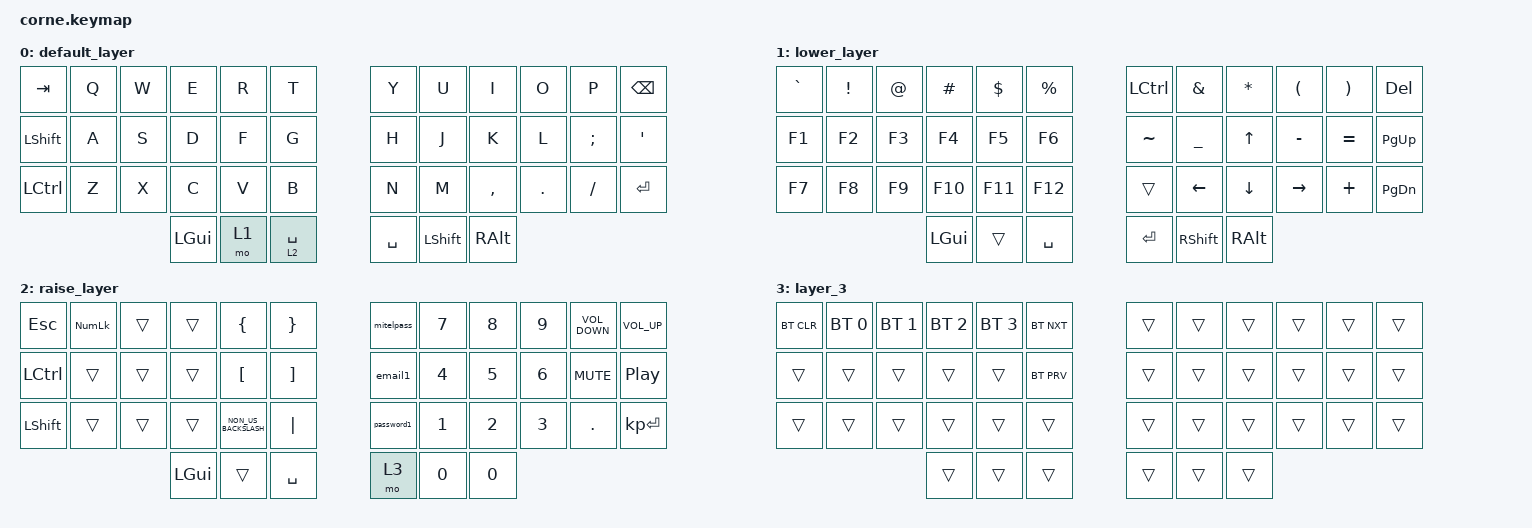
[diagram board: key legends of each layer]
/*
 * Copyright (c) 2020 The ZMK Contributors
 *
 * SPDX-License-Identifier: MIT
 */

#include <behaviors.dtsi>
#include <dt-bindings/zmk/bt.h>
#include <dt-bindings/zmk/keys.h>

/ {
    macros {
        password1: password1 {
            compatible = "zmk,behavior-macro";
            #binding-cells = <0>;
            bindings = <&none &kp LS(H) &kp A &kp L &kp F &kp O &kp F &kp R &kp O &kp B &kp E &kp R &kp T &kp N7 &kp N7 &kp N8 &kp N9 &kp CARET &kp J &kp O &kp K &kp E &kp R>;
            label = "PASSWORD1";
        };

        email1: email1 {
            compatible = "zmk,behavior-macro";
            #binding-cells = <0>;
            bindings = <&none &kp A &kp N9 &kp N5 &kp M &kp A &kp C &kp D &kp O &kp N &kp A &kp L &kp D &kp AT &kp G &kp M &kp A &kp I &kp L &kp DOT &kp C &kp O &kp M>;
            label = "EMAIL1";
        };

        mitelpass: mitelpass {
            compatible = "zmk,behavior-macro";
            #binding-cells = <0>;
            bindings = <&none &kp LS(M) &kp I &kp T &kp E &kp L &kp AT &kp N2 &kp N0 &kp N2 &kp N0>;
            label = "MITELPASS";
        };
    };

    keymap {
        compatible = "zmk,keymap";

        default_layer {
            // -----------------------------------------------------------------------------------------
            // |  TAB |  Q  |  W  |  E  |  R  |  T  |   |  Y  |  U   |  I  |  O  |  P  | BKSP |
            // | CTRL |  A  |  S  |  D  |  F  |  G  |   |  H  |  J   |  K  |  L  |  ;  |  '   |
            // | SHFT |  Z  |  X  |  C  |  V  |  B  |   |  N  |  M   |  ,  |  .  |  /  | ESC  |
            //                    | GUI | LWR | SPC |   | ENT | RSE  | ALT |

            bindings = <
&kp TAB           &kp Q  &kp W  &kp E     &kp R  &kp T          &kp Y      &kp U           &kp I      &kp O    &kp P     &kp BSPC
&kp LEFT_SHIFT    &kp A  &kp S  &kp D     &kp F  &kp G          &kp H      &kp J           &kp K      &kp L    &kp SEMI  &kp SQT
&kp LEFT_CONTROL  &kp Z  &kp X  &kp C     &kp V  &kp B          &kp N      &kp M           &kp COMMA  &kp DOT  &kp FSLH  &kp ENTER
                                &kp LGUI  &mo 1  &lt 2 SPACE    &kp SPACE  &kp LEFT_SHIFT  &kp RALT
            >;
        };

        lower_layer {
            // -----------------------------------------------------------------------------------------
            // |  TAB |  1  |  2  |  3  |  4  |  5  |   |  6  |  7  |  8  |  9  |  0  | BKSP |
            // | BTCLR| BT1 | BT2 | BT3 | BT4 | BT5 |   | LFT | DWN |  UP | RGT |     |      |
            // | SHFT |     |     |     |     |     |   |     |     |     |     |     |      |
            //                    | GUI |     | SPC |   | ENT |     | ALT |

            bindings = <
&kp GRAVE  &kp EXCLAMATION  &kp AT_SIGN  &kp HASH  &kp DOLLAR  &kp PERCENT    &kp LCTRL  &kp AMPERSAND    &kp ASTERISK  &kp LEFT_PARENTHESIS  &kp RIGHT_PARENTHESIS  &kp DEL
&kp F1     &kp F2           &kp F3       &kp F4    &kp F5      &kp F6         &kp TILDE  &kp UNDERSCORE   &kp UP        &kp MINUS             &kp EQUAL              &kp PAGE_UP
&kp F7     &kp F8           &kp F9       &kp F10   &kp F11     &kp F12        &trans     &kp LEFT         &kp DOWN      &kp RIGHT             &kp PLUS               &kp PAGE_DOWN
                                         &kp LGUI  &trans      &kp SPACE      &kp RET    &kp RIGHT_SHIFT  &kp RALT
            >;
        };

        raise_layer {
            // -----------------------------------------------------------------------------------------
            // |  TAB |  !  |  @  |  #  |  $  |  %  |   |  ^  |  &  |  *  |  (  |  )  | BKSP |
            // | CTRL |     |     |     |     |     |   |  -  |  =  |  [  |  ]  |  \  |  `   |
            // | SHFT |     |     |     |     |     |   |  _  |  +  |  {  |  }  | "|" |  ~   |
            //                    | GUI |     | SPC |   | ENT |     | ALT |

            bindings = <
&kp ESCAPE  &kp KP_NUMLOCK  &trans  &trans    &kp LEFT_BRACE        &kp RIGHT_BRACE      &mitelpass  &kp N7        &kp N8  &kp N9        &kp C_VOLUME_DOWN  &kp C_VOLUME_UP
&kp LCTRL   &trans          &trans  &trans    &kp LEFT_BRACKET      &kp RIGHT_BRACKET    &email1     &kp NUMBER_4  &kp N5  &kp NUMBER_6  &kp C_MUTE         &kp C_PLAY_PAUSE
&kp LSHFT   &trans          &trans  &trans    &kp NON_US_BACKSLASH  &kp PIPE             &password1  &kp NUMBER_1  &kp N2  &kp NUMBER_3  &kp PERIOD         &kp KP_ENTER
                                    &kp LGUI  &trans                &kp SPACE            &mo 3       &kp N0        &kp N0
            >;
        };

        layer_3 {
            bindings = <
&bt BT_CLR  &bt BT_SEL 0  &bt BT_SEL 1  &bt BT_SEL 2  &bt BT_SEL 3  &bt BT_NXT    &trans  &trans  &trans  &trans  &trans  &trans
&trans      &trans        &trans        &trans        &trans        &bt BT_PRV    &trans  &trans  &trans  &trans  &trans  &trans
&trans      &trans        &trans        &trans        &trans        &trans        &trans  &trans  &trans  &trans  &trans  &trans
                                        &trans        &trans        &trans        &trans  &trans  &trans
            >;
        };
    };
};
